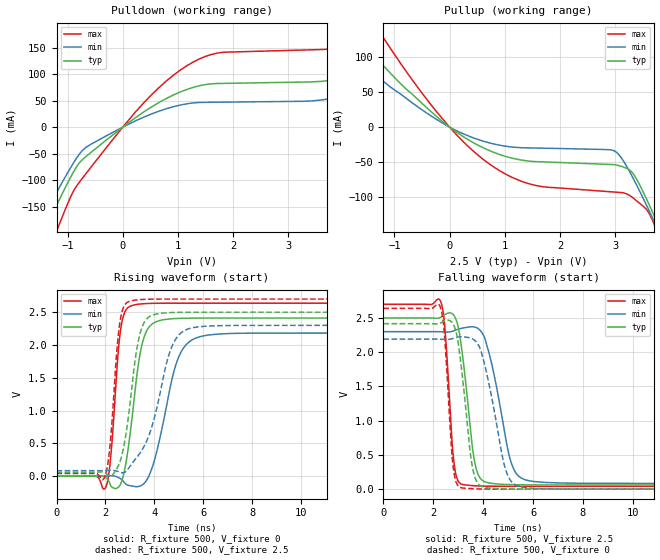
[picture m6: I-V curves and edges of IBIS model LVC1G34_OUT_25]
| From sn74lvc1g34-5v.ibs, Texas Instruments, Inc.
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[Model]   LVC1G34_OUT_25
Model_type  Output
Vref =   0
Rref =   500
Cref =   30p
Vmeas =   1.25
| variable   typ   min   max
C_comp   9.80pF   6.16pF   14.72pF
| C_pullup   9.65pF   6.16pF   11.31pF
| C_pulldown   9.95pF   6.65pF   14.72pF
[Temperature Range]   40   100   -40
| Ambient temperature   25   85   -40
[Voltage range]   2.5   2.3   2.7
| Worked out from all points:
|   slope of the pulldown table from 0 to 0.375 V, typ, clamps not added: 13.3 ohm
|   slope of the pullup table from 0 to 0.375 V, typ, clamps not added: 19 ohm
|   rising waveform, R_fixture 500, V_fixture 0: 20-80 % time 498ps typ, 785ps min, 311ps max; typ from 0 V to 2.41 V
|   falling waveform, R_fixture 500, V_fixture 2.5: 20-80 % time 442ps typ, 696ps min, 275ps max; typ from 2.5 V to 0.061 V
|   rising waveform, R_fixture 500, V_fixture 2.5: 20-80 % time 521ps typ, 929ps min, 318ps max; typ from 0.061 V to 2.5 V
|   falling waveform, R_fixture 500, V_fixture 0: 20-80 % time 428ps typ, 691ps min, 267ps max; typ from 2.42 V to 0 V
[Pulldown]
| LVC1G34_OUT_25
|   Voltage   I(typ)   I(min)   I(max)
-5.5V     -1.06A     -941.4mA   -1.275A
-1.52V    -217.1mA   -184.1mA   -281.2mA
-1.26V    -160.6mA   -134.6mA   -212.3mA
-665mV    -55.38mA   -37.96mA   -87.52mA
385mV     28.96mA    19.04mA    46.35mA
1.275V    74.94mA    45.66mA    122.7mA
3.82V     89.63mA    55.12mA    148.2mA
5.34V     157.4mA    105.8mA    232mA
5.91V     188.7mA    52.55mA    283.4mA
6.525V    93.54mA    53.06mA    299.5mA
7.555V    94.08mA    54.03mA    161.4mA
11V       99.63mA    57.49mA    169.6mA
[Pullup]
| LVC1G34_OUT_25
|   Voltage   I(typ)   I(min)   I(max)
-5.5V     533.4mA    418.6mA    746.4mA
-2.335V   192.2mA    147mA      274.9mA
-1.875V   147.9mA    112.2mA    212.9mA
-1.315V   97.38mA    72.9mA     141.5mA
-225mV    14.47mA    10.42mA    20.98mA
735mV     -33.88mA   -22.76mA   -53.28mA
1.56V     -49.18mA   -29.79mA   -83.17mA
2.98V     -53.48mA   -33.7mA    -92.52mA
3.325V    -66.27mA   -72.72mA   -100.9mA
3.755V    -135mA     -142.5mA   -147.1mA
3.835V    -149.5mA   -156.2mA   -162.8mA
11V       -1.609A    -1.492A    -1.841A
[Ramp]
| LVC1G34_OUT_25
| variable   typ   min   max
dV/dt_r   1.56/5.41E-10   1.41/8.44E-10   1.70/3.35E-10
dV/dt_f   1.51/4.64E-10   1.37/7.28E-10   1.64/2.91E-10
R_load = 500
[Rising Waveform]
| LVC1G34_OUT_25
R_fixture =   500
C_fixture =   0
L_fixture =   0
V_fixture =   0
V_fixture_min = 0
V_fixture_max = 0
|   Time   V(typ)   V(min)   V(max)
0s        125.3pV    6.247nV    2.314nV
2.02ns    -24.26mV   1.961mV    -163.4mV
2.215ns   -144.9mV   5.774mV    295.8mV
2.62ns    -117.7mV   -39.31mV   2.233V
3.11ns    964.1mV    -151.2mV   2.604V
3.42ns    1.875V     -149.2mV   2.625V
3.765ns   2.265V     -4.498mV   2.633V
4.93ns    2.404V     1.756V     2.637V
5.835ns   2.41V      2.124V     2.637V
24.99ns   2.411V     2.183V     2.637V
[Falling Waveform]
| LVC1G34_OUT_25
R_fixture =   500
C_fixture =   0
L_fixture =   0
V_fixture =   2.5
V_fixture_min = 2.3
V_fixture_max = 2.7
|   Time   V(typ)   V(min)   V(max)
0s        2.5V       2.3V       2.7V
2.295ns   2.51V      2.298V     2.74V
2.465ns   2.549V     2.295V     2.357V
2.825ns   2.537V     2.313V     402.3mV
3.185ns   1.915V     2.352V     67.78mV
3.815ns   200.6mV    2.34V      47.06mV
4.29ns    87.66mV    1.911V     43.28mV
5.115ns   66.39mV    397.8mV    41.81mV
5.715ns   62.94mV    133.7mV    41.61mV
24.99ns   60.95mV    83.67mV    41.48mV
[Rising Waveform]
| LVC1G34_OUT_25
R_fixture =   500
C_fixture =   0
L_fixture =   0
V_fixture =   2.5
V_fixture_min = 2.3
V_fixture_max = 2.7
|   Time   V(typ)   V(min)   V(max)
0s        60.91mV    83.6mV     41.45mV
1.965ns   52.26mV    84.62mV    -14.18mV
2.18ns    1.157mV    88.68mV    447.3mV
2.58ns    208.6mV    61.2mV     2.322V
3.01ns    1.124V     153.2mV    2.669V
3.305ns   1.987V     298.5mV    2.688V
3.615ns   2.362V     481.8mV    2.696V
4.69ns    2.494V     1.952V     2.7V
5.48ns    2.499V     2.256V     2.7V
24.99ns   2.5V       2.3V       2.7V
[Falling Waveform]
| LVC1G34_OUT_25
R_fixture =   500
C_fixture =   0
L_fixture =   0
V_fixture =   0
V_fixture_min = 0
V_fixture_max = 0
|   Time   V(typ)   V(min)   V(max)
0s        2.416V     2.191V     2.64V
2.27ns    2.422V     2.19V      2.671V
2.445ns   2.455V     2.187V     2.274V
2.79ns    2.415V     2.201V     350mV
3.11ns    1.826V     2.225V     21.25mV
3.49ns    514.4mV    2.206V     8.842mV
3.72ns    126.8mV    2.151V     4.864mV
4.89ns    4.299mV    298.4mV    375.3uV
5.465ns   1.505mV    35.8mV     160.6uV
24.99ns   41.88uV    62.73uV    28.54uV
